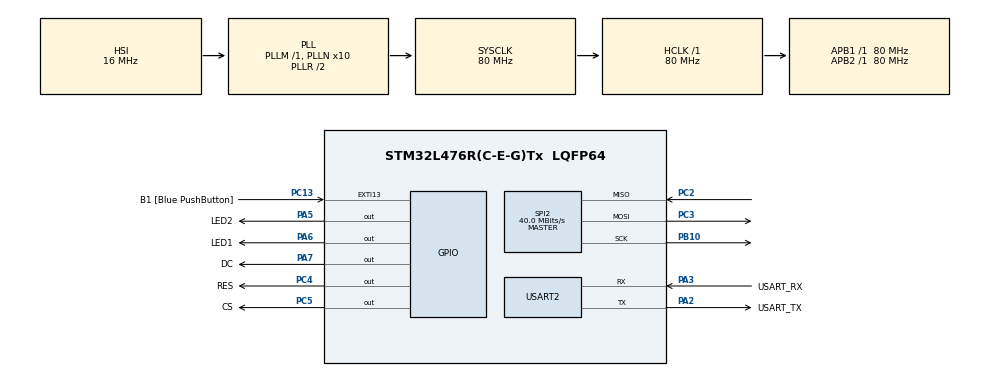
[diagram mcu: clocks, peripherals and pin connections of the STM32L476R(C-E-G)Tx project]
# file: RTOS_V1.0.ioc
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FREERTOS.CountingSemaphores01=keypressed,2,Static,keyressedControlBlock;keyDebounce,2,Static,keyDebounceControlBlock;flashReq,5,Static,flashReqControlBlock
FREERTOS.Mutexes01=lvglMutex,Static,lvglMutexControlBlock
FREERTOS.Tasks01=defaultTask,-1,512,StartDefaultTask,Default,NULL,Static,defaultTaskBuffer,defaultTaskControlBlock;lvglTask,0,1024,startLvglTask,Default,NULL,Static,lvglTaskBuffer,lvglTaskControlBlock;guiTask,0,512,StartGuiTask,Default,NULL,Static,guiTaskBuffer,guiTaskControlBlock
FREERTOS.configMINIMAL_STACK_SIZE=512
FREERTOS.configUSE_COUNTING_SEMAPHORES=1
FREERTOS.configUSE_MUTEXES=1
FREERTOS.configUSE_NEWLIB_REENTRANT=1
FREERTOS.configUSE_PREEMPTION=0
FREERTOS.configUSE_TICK_HOOK=1
FREERTOS.configUSE_TIMERS=0
Mcu.Family=STM32L4
Mcu.Name=STM32L476R(C-E-G)Tx
Mcu.Package=LQFP64
NVIC.PriorityGroup=NVIC_PRIORITYGROUP_4
NVIC.TIM2_IRQn=true\:15\:0\:false\:false\:true\:false\:false\:true\:true
NVIC.TimeBase=TIM2_IRQn
NVIC.TimeBaseIP=TIM2
PA13\ (JTMS-SWDIO).GPIO_Label=TMS
PA13\ (JTMS-SWDIO).Mode=Serial_Wire
PA13\ (JTMS-SWDIO).Signal=SYS_JTMS-SWDIO
PA14\ (JTCK-SWCLK).GPIO_Label=TCK
PA14\ (JTCK-SWCLK).Mode=Serial_Wire
PA14\ (JTCK-SWCLK).Signal=SYS_JTCK-SWCLK
PA2.GPIO_Label=USART_TX
PA2.GPIO_Mode=GPIO_MODE_AF_PP
PA2.GPIO_PuPd=GPIO_NOPULL
PA2.GPIO_Speed=GPIO_SPEED_FREQ_VERY_HIGH
PA2.Mode=Asynchronous
PA2.Signal=USART2_TX
PA3.GPIO_Label=USART_RX
PA3.GPIO_Mode=GPIO_MODE_AF_PP
PA3.GPIO_PuPd=GPIO_NOPULL
PA3.GPIO_Speed=GPIO_SPEED_FREQ_VERY_HIGH
PA3.Mode=Asynchronous
PA3.Signal=USART2_RX
PA5.GPIO_Label=LED2
PA5.GPIO_ModeDefaultOutputPP=GPIO_MODE_OUTPUT_PP
PA5.GPIO_PuPd=GPIO_NOPULL
PA5.GPIO_Speed=GPIO_SPEED_FREQ_LOW
PA5.Signal=GPIO_Output
PA6.GPIO_Label=LED1
PA6.GPIO_PuPd=GPIO_PULLDOWN
PA6.Signal=GPIO_Output
PA7.GPIO_Label=DC
PA7.Signal=GPIO_Output
PB10.Mode=Full_Duplex_Master
PB10.Signal=SPI2_SCK
PB3\ (JTDO-TRACESWO).GPIO_Label=SWO
PB3\ (JTDO-TRACESWO).Signal=SYS_JTDO-SWO
PC13.GPIO_Label=B1 [Blue PushButton]
PC13.GPIO_ModeDefaultEXTI=GPIO_MODE_IT_FALLING
PC13.GPIO_PuPd=GPIO_NOPULL
PC13.Signal=GPXTI13
PC14-OSC32_IN\ (PC14).Signal=RCC_OSC32_IN
PC15-OSC32_OUT\ (PC15).Signal=RCC_OSC32_OUT
PC2.Mode=Full_Duplex_Master
PC2.Signal=SPI2_MISO
PC3.Mode=Full_Duplex_Master
PC3.Signal=SPI2_MOSI
PC4.GPIO_Label=RES
PC4.Signal=GPIO_Output
PC5.GPIO_Label=CS
PC5.Signal=GPIO_Output
PH0-OSC_IN\ (PH0).Mode=HSE-External-Oscillator
PH0-OSC_IN\ (PH0).Signal=RCC_OSC_IN
PH1-OSC_OUT\ (PH1).Mode=HSE-External-Oscillator
PH1-OSC_OUT\ (PH1).Signal=RCC_OSC_OUT
ProjectManager.HeapSize=0x200
ProjectManager.StackSize=0x400
ProjectManager.TargetToolchain=STM32CubeIDE
RCC.ADCFreq_Value=64000000
RCC.AHBFreq_Value=80000000
RCC.APB1Freq_Value=80000000
RCC.APB1TimFreq_Value=80000000
RCC.APB2Freq_Value=80000000
RCC.APB2TimFreq_Value=80000000
RCC.CortexFreq_Value=80000000
RCC.HCLKFreq_Value=80000000
RCC.HSE_VALUE=8000000
RCC.HSI_VALUE=16000000
RCC.LSE_VALUE=32768
RCC.MSI_VALUE=4000000
RCC.PLLN=10
RCC.PLLSourceVirtual=RCC_PLLSOURCE_HSI
RCC.SYSCLKFreq_VALUE=80000000
RCC.SYSCLKSource=RCC_SYSCLKSOURCE_PLLCLK
RCC.USBFreq_Value=64000000
RCC.VCOOutputFreq_Value=160000000
SPI2.CalculateBaudRate=40.0 MBits/s
SPI2.DataSize=SPI_DATASIZE_8BIT
SPI2.Direction=SPI_DIRECTION_2LINES
SPI2.Mode=SPI_MODE_MASTER
SPI2.VirtualType=VM_MASTER
USART2.VirtualMode-Asynchronous=VM_ASYNC
VP_FREERTOS_VS_CMSIS_V1.Mode=CMSIS_V1
VP_SYS_VS_tim2.Mode=TIM2
board=NUCLEO-L476RG

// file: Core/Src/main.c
/* USER CODE BEGIN Header */
/**
  ******************************************************************************
  * @file           : main.c
  * @brief          : Main program body
  ******************************************************************************
  * @attention
  *
  * Copyright (c) 2023 STMicroelectronics.
  * All rights reserved.
  *
  * This software is licensed under terms that can be found in the LICENSE file
  * in the root directory of this software component.
  * If no LICENSE file comes with this software, it is provided AS-IS.
  *
  ******************************************************************************
  */
/* USER CODE END Header */
#include "main.h"
#include "cmsis_os.h"

/* USER CODE BEGIN Includes */
#include "../lvgl/lvgl.h"
#include "../App/lvglApplication/ui.h"
#include "../App/Hardware/GC9A01.h"
/* USER CODE END Includes */

SPI_HandleTypeDef hspi2;

UART_HandleTypeDef huart2;

osThreadId defaultTaskHandle;
uint32_t defaultTaskBuffer[ 512 ];
osStaticThreadDef_t defaultTaskControlBlock;
osThreadId lvglTaskHandle;
uint32_t lvglTaskBuffer[ 1024 ];
osStaticThreadDef_t lvglTaskControlBlock;
osThreadId guiTaskHandle;
uint32_t guiTaskBuffer[ 512 ];
osStaticThreadDef_t guiTaskControlBlock;
osMutexId lvglMutexHandle;
osStaticMutexDef_t lvglMutexControlBlock;
osSemaphoreId keypressedHandle;
osStaticSemaphoreDef_t keyressedControlBlock;
osSemaphoreId keyDebounceHandle;
osStaticSemaphoreDef_t keyDebounceControlBlock;
osSemaphoreId flashReqHandle;
osStaticSemaphoreDef_t flashReqControlBlock;

void SystemClock_Config(void);
static void MX_GPIO_Init(void);
static void MX_USART2_UART_Init(void);
static void MX_SPI2_Init(void);
void StartDefaultTask(void const * argument);
void startLvglTask(void const * argument);
void StartGuiTask(void const * argument);

/* USER CODE BEGIN PFP */
void GC9A01_flush(lv_disp_drv_t *disp, const lv_area_t *area, lv_color_t *color_p)
{
	uint16_t w = (area->x2 - area->x1 + 1);
    uint16_t h = (area->y2 - area->y1 + 1);

    GC9A01_set_chip_select(1);
    GC9A01A_SetWindow(area->x1, area->y1, area->x2, area->y2);
    GC9A01_write_data((uint8_t*)color_p, sizeof(uint16_t)*w*h);
    lv_disp_flush_ready(disp);
}

void LV_Init(void)
{
	static lv_disp_draw_buf_t disp_buf;
	static lv_disp_drv_t disp_drv;
	static lv_color_t buf_1[240 * 24] ;
	static lv_color_t buf_2[240 * 24] ;

	lv_init();
	GC9A01_init();

	lv_disp_draw_buf_init(&disp_buf, buf_1, buf_2, 240 * 24);
	lv_disp_drv_init(&disp_drv);            /*Basic initialization*/
	disp_drv.draw_buf = &disp_buf;          /*Set an initialized buffer*/
	disp_drv.flush_cb = GC9A01_flush;        /*Set a flush callback to draw to the display*/
	disp_drv.hor_res = 240;                 /*Set the horizontal resolution in pixels*/
	disp_drv.ver_res = 240;                 /*Set the vertical resolution in pixels*/

    lv_disp_drv_register(&disp_drv);        /*Register the driver and save the created display objects*/
}

void hello_world(void) {
    lv_obj_t * btn = lv_btn_create(lv_scr_act());     /*Add a button the current screen*/
    lv_obj_set_pos(btn, 10, 10);                            /*Set its position*/
    lv_obj_set_size(btn, 120, 50);                          /*Set its size*/

    lv_obj_t * label1 = lv_label_create(btn);           /*Add a label to the button*/
    lv_label_set_text(label1, "Power it up!");                /*Set the labels text*/

    lv_obj_t * label2 = lv_label_create(lv_scr_act());  /*Add a label to the button*/
    lv_label_set_text(label2, "CC");                          /*Set the labels text*/
    lv_obj_set_pos(label2, 280, 10);                          /*Set its position*/

    /* Create a slider in the center of the display */
    lv_obj_t * slider = lv_slider_create(lv_scr_act());
    lv_obj_set_width(slider, 200);                        /*Set the width*/
    lv_obj_align(slider, LV_ALIGN_CENTER, 0, 0);    /*Align to the center of the parent (screen)*/

}
/* USER CODE END PFP */

int main(void)
{

  /* MCU Configuration--------------------------------------------------------*/

  /* Reset of all peripherals, Initializes the Flash interface and the Systick. */
  HAL_Init();

  /* Configure the system clock */
  SystemClock_Config();

  /* Initialize all configured peripherals */
  MX_GPIO_Init();
  MX_USART2_UART_Init();
  MX_SPI2_Init();
  /* USER CODE BEGIN 2 */
  // init GUI
  LV_Init();
  ui_init();
  /* USER CODE END 2 */

  /* Create the mutex(es) */
  /* definition and creation of lvglMutex */
  osMutexStaticDef(lvglMutex, &lvglMutexControlBlock);
  lvglMutexHandle = osMutexCreate(osMutex(lvglMutex));

  /* Create the semaphores(s) */
  /* definition and creation of keypressed */
  osSemaphoreStaticDef(keypressed, &keyressedControlBlock);
  keypressedHandle = osSemaphoreCreate(osSemaphore(keypressed), 2);

  /* definition and creation of keyDebounce */
  osSemaphoreStaticDef(keyDebounce, &keyDebounceControlBlock);
  keyDebounceHandle = osSemaphoreCreate(osSemaphore(keyDebounce), 2);

  /* definition and creation of flashReq */
  osSemaphoreStaticDef(flashReq, &flashReqControlBlock);
  flashReqHandle = osSemaphoreCreate(osSemaphore(flashReq), 5);

  /* Create the thread(s) */
  /* definition and creation of defaultTask */
  osThreadStaticDef(defaultTask, StartDefaultTask, osPriorityBelowNormal, 0, 512, defaultTaskBuffer, &defaultTaskControlBlock);
  defaultTaskHandle = osThreadCreate(osThread(defaultTask), NULL);

  /* definition and creation of lvglTask */
  osThreadStaticDef(lvglTask, startLvglTask, osPriorityNormal, 0, 1024, lvglTaskBuffer, &lvglTaskControlBlock);
  lvglTaskHandle = osThreadCreate(osThread(lvglTask), NULL);

  /* definition and creation of guiTask */
  osThreadStaticDef(guiTask, StartGuiTask, osPriorityNormal, 0, 512, guiTaskBuffer, &guiTaskControlBlock);
  guiTaskHandle = osThreadCreate(osThread(guiTask), NULL);

  /* Start scheduler */
  osKernelStart();
  /* We should never get here as control is now taken by the scheduler */
  /* Infinite loop */
  while (1)
  {

  }
}

void SystemClock_Config(void)
{
  RCC_OscInitTypeDef RCC_OscInitStruct = {0};
  RCC_ClkInitTypeDef RCC_ClkInitStruct = {0};

  /** Configure the main internal regulator output voltage
  */
  if (HAL_PWREx_ControlVoltageScaling(PWR_REGULATOR_VOLTAGE_SCALE1) != HAL_OK)
  {
    Error_Handler();
  }

  /** Initializes the RCC Oscillators according to the specified parameters
  * in the RCC_OscInitTypeDef structure.
  */
  RCC_OscInitStruct.OscillatorType = RCC_OSCILLATORTYPE_HSI;
  RCC_OscInitStruct.HSIState = RCC_HSI_ON;
  RCC_OscInitStruct.HSICalibrationValue = RCC_HSICALIBRATION_DEFAULT;
  RCC_OscInitStruct.PLL.PLLState = RCC_PLL_ON;
  RCC_OscInitStruct.PLL.PLLSource = RCC_PLLSOURCE_HSI;
  RCC_OscInitStruct.PLL.PLLM = 1;
  RCC_OscInitStruct.PLL.PLLN = 10;
  RCC_OscInitStruct.PLL.PLLP = RCC_PLLP_DIV7;
  RCC_OscInitStruct.PLL.PLLQ = RCC_PLLQ_DIV2;
  RCC_OscInitStruct.PLL.PLLR = RCC_PLLR_DIV2;
  if (HAL_RCC_OscConfig(&RCC_OscInitStruct) != HAL_OK)
  {
    Error_Handler();
  }

  /** Initializes the CPU, AHB and APB buses clocks
  */
  RCC_ClkInitStruct.ClockType = RCC_CLOCKTYPE_HCLK|RCC_CLOCKTYPE_SYSCLK
                              |RCC_CLOCKTYPE_PCLK1|RCC_CLOCKTYPE_PCLK2;
  RCC_ClkInitStruct.SYSCLKSource = RCC_SYSCLKSOURCE_PLLCLK;
  RCC_ClkInitStruct.AHBCLKDivider = RCC_SYSCLK_DIV1;
  RCC_ClkInitStruct.APB1CLKDivider = RCC_HCLK_DIV1;
  RCC_ClkInitStruct.APB2CLKDivider = RCC_HCLK_DIV1;

  if (HAL_RCC_ClockConfig(&RCC_ClkInitStruct, FLASH_LATENCY_4) != HAL_OK)
  {
    Error_Handler();
  }
}

static void MX_SPI2_Init(void)
{

  /* SPI2 parameter configuration*/
  hspi2.Instance = SPI2;
  hspi2.Init.Mode = SPI_MODE_MASTER;
  hspi2.Init.Direction = SPI_DIRECTION_2LINES;
  hspi2.Init.DataSize = SPI_DATASIZE_8BIT;
  hspi2.Init.CLKPolarity = SPI_POLARITY_LOW;
  hspi2.Init.CLKPhase = SPI_PHASE_1EDGE;
  hspi2.Init.NSS = SPI_NSS_SOFT;
  hspi2.Init.BaudRatePrescaler = SPI_BAUDRATEPRESCALER_2;
  hspi2.Init.FirstBit = SPI_FIRSTBIT_MSB;
  hspi2.Init.TIMode = SPI_TIMODE_DISABLE;
  hspi2.Init.CRCCalculation = SPI_CRCCALCULATION_DISABLE;
  hspi2.Init.CRCPolynomial = 7;
  hspi2.Init.CRCLength = SPI_CRC_LENGTH_DATASIZE;
  hspi2.Init.NSSPMode = SPI_NSS_PULSE_ENABLE;
  if (HAL_SPI_Init(&hspi2) != HAL_OK)
  {
    Error_Handler();
  }

}

static void MX_USART2_UART_Init(void)
{

  huart2.Instance = USART2;
  huart2.Init.BaudRate = 115200;
  huart2.Init.WordLength = UART_WORDLENGTH_8B;
  huart2.Init.StopBits = UART_STOPBITS_1;
  huart2.Init.Parity = UART_PARITY_NONE;
  huart2.Init.Mode = UART_MODE_TX_RX;
  huart2.Init.HwFlowCtl = UART_HWCONTROL_NONE;
  huart2.Init.OverSampling = UART_OVERSAMPLING_16;
  huart2.Init.OneBitSampling = UART_ONE_BIT_SAMPLE_DISABLE;
  huart2.AdvancedInit.AdvFeatureInit = UART_ADVFEATURE_NO_INIT;
  if (HAL_UART_Init(&huart2) != HAL_OK)
  {
    Error_Handler();
  }

}

static void MX_GPIO_Init(void)
{
  GPIO_InitTypeDef GPIO_InitStruct = {0};

  /* GPIO Ports Clock Enable */
  __HAL_RCC_GPIOC_CLK_ENABLE();
  __HAL_RCC_GPIOH_CLK_ENABLE();
  __HAL_RCC_GPIOA_CLK_ENABLE();
  __HAL_RCC_GPIOB_CLK_ENABLE();

  /*Configure GPIO pin Output Level */
  HAL_GPIO_WritePin(GPIOA, LED2_Pin|LED1_Pin|DC_Pin, GPIO_PIN_RESET);

  /*Configure GPIO pin Output Level */
  HAL_GPIO_WritePin(GPIOC, RES_Pin|CS_Pin, GPIO_PIN_RESET);

  /*Configure GPIO pin : B1_Pin */
  GPIO_InitStruct.Pin = B1_Pin;
  GPIO_InitStruct.Mode = GPIO_MODE_IT_FALLING;
  GPIO_InitStruct.Pull = GPIO_NOPULL;
  HAL_GPIO_Init(B1_GPIO_Port, &GPIO_InitStruct);

  /*Configure GPIO pins : LED2_Pin DC_Pin */
  GPIO_InitStruct.Pin = LED2_Pin|DC_Pin;
  GPIO_InitStruct.Mode = GPIO_MODE_OUTPUT_PP;
  GPIO_InitStruct.Pull = GPIO_NOPULL;
  GPIO_InitStruct.Speed = GPIO_SPEED_FREQ_LOW;
  HAL_GPIO_Init(GPIOA, &GPIO_InitStruct);

  /*Configure GPIO pin : LED1_Pin */
  GPIO_InitStruct.Pin = LED1_Pin;
  GPIO_InitStruct.Mode = GPIO_MODE_OUTPUT_PP;
  GPIO_InitStruct.Pull = GPIO_PULLDOWN;
  GPIO_InitStruct.Speed = GPIO_SPEED_FREQ_LOW;
  HAL_GPIO_Init(LED1_GPIO_Port, &GPIO_InitStruct);

  /*Configure GPIO pins : RES_Pin CS_Pin */
  GPIO_InitStruct.Pin = RES_Pin|CS_Pin;
  GPIO_InitStruct.Mode = GPIO_MODE_OUTPUT_PP;
  GPIO_InitStruct.Pull = GPIO_NOPULL;
  GPIO_InitStruct.Speed = GPIO_SPEED_FREQ_LOW;
  HAL_GPIO_Init(GPIOC, &GPIO_InitStruct);

}

void StartDefaultTask(void const * argument)
{
  /* USER CODE BEGIN 5 */
  /* Infinite loop */
  for(;;)
  {
	  lv_tick_inc(1);
	  osDelay(1);
  }
  /* USER CODE END 5 */
}

void startLvglTask(void const * argument)
{
  /* USER CODE BEGIN startLvglTask */
  /* Infinite loop */
  for(;;)
  {
	  HAL_GPIO_TogglePin(GPIOA, GPIO_PIN_6);
	  osDelay(5);
	  osMutexWait(lvglMutexHandle, osWaitForever);
	  lv_task_handler();
	  osMutexRelease(lvglMutexHandle);
  }
  /* USER CODE END startLvglTask */
}

void StartGuiTask(void const * argument)
{
  for(;;)
  {
    osDelay(1);
  }
}

void HAL_TIM_PeriodElapsedCallback(TIM_HandleTypeDef *htim)
{
  if (htim->Instance == TIM2) {
    HAL_IncTick();
  }
}

void Error_Handler(void)
{
  __disable_irq();
  while (1)
  {
  }
}

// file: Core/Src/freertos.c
/* USER CODE BEGIN Header */
/**
  ******************************************************************************
  * File Name          : freertos.c
  * Description        : Code for freertos applications
  ******************************************************************************
  * @attention
  *
  * Copyright (c) 2022 STMicroelectronics.
  * All rights reserved.
  *
  * This software is licensed under terms that can be found in the LICENSE file
  * in the root directory of this software component.
  * If no LICENSE file comes with this software, it is provided AS-IS.
  *
  ******************************************************************************
  */
/* USER CODE END Header */

#include "FreeRTOS.h"
#include "task.h"
#include "main.h"

/* GetIdleTaskMemory prototype (linked to static allocation support) */
void vApplicationGetIdleTaskMemory( StaticTask_t **ppxIdleTaskTCBBuffer, StackType_t **ppxIdleTaskStackBuffer, uint32_t *pulIdleTaskStackSize );

/* Hook prototypes */
void vApplicationTickHook(void);

/* USER CODE BEGIN 3 */
__weak void vApplicationTickHook( void )
{
   /* This function will be called by each tick interrupt if
   configUSE_TICK_HOOK is set to 1 in FreeRTOSConfig.h. User code can be
   added here, but the tick hook is called from an interrupt context, so
   code must not attempt to block, and only the interrupt safe FreeRTOS API
   functions can be used (those that end in FromISR()). */
}
/* USER CODE END 3 */

/* USER CODE BEGIN GET_IDLE_TASK_MEMORY */
static StaticTask_t xIdleTaskTCBBuffer;
static StackType_t xIdleStack[configMINIMAL_STACK_SIZE];

void vApplicationGetIdleTaskMemory( StaticTask_t **ppxIdleTaskTCBBuffer, StackType_t **ppxIdleTaskStackBuffer, uint32_t *pulIdleTaskStackSize )
{
  *ppxIdleTaskTCBBuffer = &xIdleTaskTCBBuffer;
  *ppxIdleTaskStackBuffer = &xIdleStack[0];
  *pulIdleTaskStackSize = configMINIMAL_STACK_SIZE;
  /* place for user code */
}
/* USER CODE END GET_IDLE_TASK_MEMORY */
